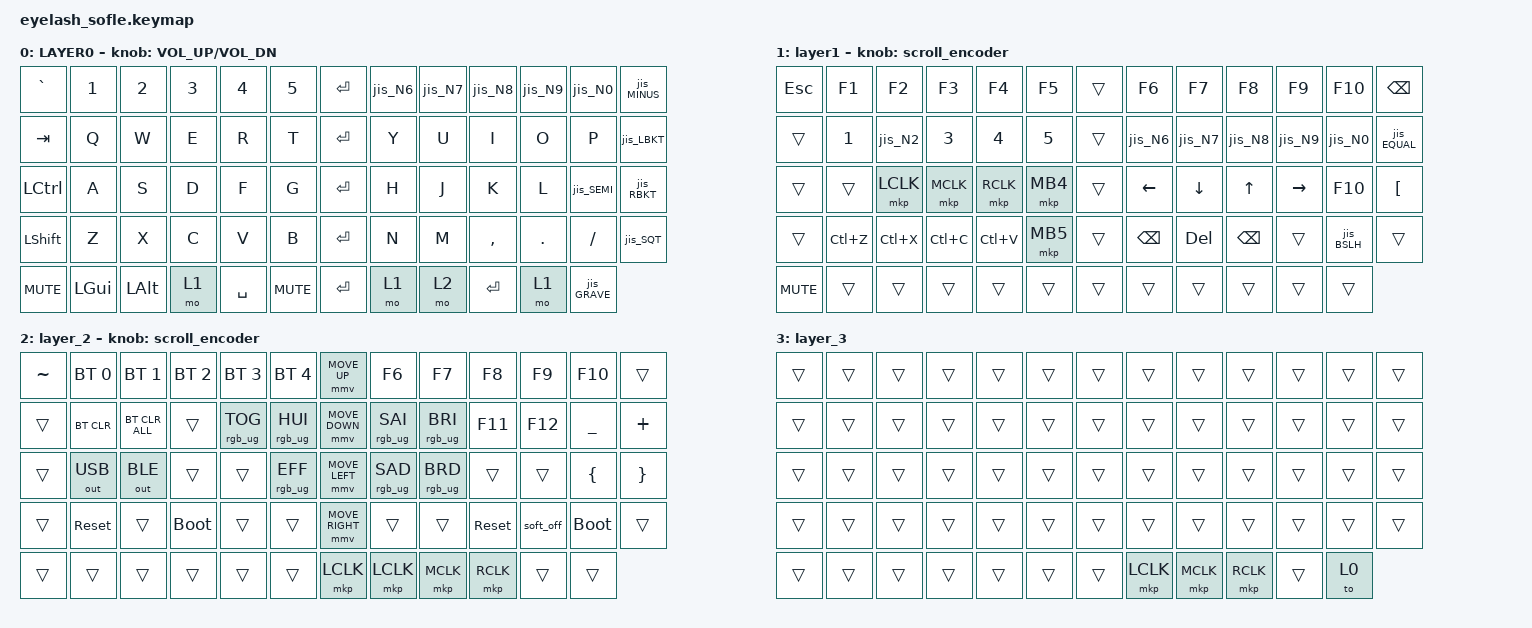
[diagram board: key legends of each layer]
#define ZMK_POINTING_DEFAULT_MOVE_VAL 1200  // 600
#define ZMK_POINTING_DEFAULT_SCRL_VAL 25   // 10

#include <input/processors.dtsi>
#include <zephyr/dt-bindings/input/input-event-codes.h>
#include <behaviors.dtsi>
#include <dt-bindings/zmk/bt.h>
#include <dt-bindings/zmk/ext_power.h>
#include <dt-bindings/zmk/keys.h>
#include <dt-bindings/zmk/pointing.h>
#include <dt-bindings/zmk/rgb.h>
#include <dt-bindings/zmk/outputs.h>

&mmv_input_listener { input-processors = <&zip_xy_scaler 2 1>; };

&msc_input_listener { input-processors = <&zip_scroll_scaler 2 1>; };

&msc {
    acceleration-exponent = <1>;      // 0
    time-to-max-speed-ms = <100>;       // 300
    delay-ms = <0>;                   // 0
};

&mmv {
    time-to-max-speed-ms = <500>;
    acceleration-exponent = <1>;
    trigger-period-ms = <16>;
};


/ {

    scroll_encoder: scroll_encoder {
        compatible = "zmk,behavior-sensor-rotate";
        #sensor-binding-cells = <0>;
        bindings = <&msc SCRL_DOWN>, <&msc SCRL_UP>;
        tap-ms = <100>;
    };
    //--------USキーボードの記号を日本語OSで表示通りに入力するための処理-----------------------------
    //`~マーク
    jis_GRAVE: jis_GRAVE {
        compatible = "zmk,behavior-mod-morph";
        label = "jis_GRAVE";
        #binding-cells = <0>;
        bindings = <&kp LS(LBKT)>, <&kp EQUAL>; //通常時でもレフトシフトするようにしてある。
        mods = <(MOD_LSFT|MOD_RSFT)>;
        keep-mods = <(MOD_LSFT|MOD_RSFT)>;  //shiftを押しっぱなしにするための記述
    };


    //@マーク
    jis_N2: jis_N2 {
        compatible = "zmk,behavior-mod-morph";
        label = "jis_N2";
        #binding-cells = <0>;
        bindings = <&kp N2>, <&kp LBKT>;
        mods = <(MOD_LSFT|MOD_RSFT)>;
        //keep-mods = <(MOD_LSFT|MOD_RSFT)>;
    };
    //^マーク
    jis_N6: jis_N6 {
        compatible = "zmk,behavior-mod-morph";
        label = "jis_N6";
        #binding-cells = <0>;
        bindings = <&kp N6>, <&kp EQUAL>;
        mods = <(MOD_LSFT|MOD_RSFT)>;
        //keep-mods = <(MOD_LSFT|MOD_RSFT)>;
    //&マーク
    };
    jis_N7: jis_N7 {
        compatible = "zmk,behavior-mod-morph";
        label = "jis_N7";
        #binding-cells = <0>;
        bindings = <&kp N7>, <&kp N6>;
        mods = <(MOD_LSFT|MOD_RSFT)>;
        keep-mods = <(MOD_LSFT|MOD_RSFT)>;
    };
    //アスタリスクマーク
    jis_N8: jis_N8 {
        compatible = "zmk,behavior-mod-morph";
        label = "jis_N8";
        #binding-cells = <0>;
        bindings = <&kp N8>, <&kp SQT>;
        mods = <(MOD_LSFT|MOD_RSFT)>;
        keep-mods = <(MOD_LSFT|MOD_RSFT)>;
    };
    // (マーク
    jis_N9: jis_N9 {
        compatible = "zmk,behavior-mod-morph";
        label = "jis_N9";
        #binding-cells = <0>;
        bindings = <&kp N9>, <&kp N8>;
        mods = <(MOD_LSFT|MOD_RSFT)>;
        keep-mods = <(MOD_LSFT|MOD_RSFT)>;
    };
    // )マーク
    jis_N0: jis_N0 {
        compatible = "zmk,behavior-mod-morph";
        label = "jis_N0";
        #binding-cells = <0>;
        bindings = <&kp N0>, <&kp N9>;
        mods = <(MOD_LSFT|MOD_RSFT)>;
        keep-mods = <(MOD_LSFT|MOD_RSFT)>;
    };
    //アンダーバー
    jis_MINUS: jis_MINUS {
        compatible = "zmk,behavior-mod-morph";
        label = "jis_MINUS";
        #binding-cells = <0>;
        bindings = <&kp MINUS>, <&kp INT1>;
        mods = <(MOD_LSFT|MOD_RSFT)>;
        keep-mods = <(MOD_LSFT|MOD_RSFT)>;
    };
    //イコールとプラス
    jis_EQUAL: jis_EQUAL {
        compatible = "zmk,behavior-mod-morph";
        label = "jis_EQUAL";
        #binding-cells = <0>;
        bindings = <&kp LS(MINUS)>, <&kp SEMI>;
        mods = <(MOD_LSFT|MOD_RSFT)>;
        keep-mods = <(MOD_LSFT|MOD_RSFT)>;
    };
    // [マーク
    jis_LBKT: jis_LBKT {
        compatible = "zmk,behavior-mod-morph";
        label = "jis_LBKT";
        #binding-cells = <0>;
        bindings = <&kp RBKT>, <&kp RBKT>;
        mods = <(MOD_LSFT|MOD_RSFT)>;
        keep-mods = <(MOD_LSFT|MOD_RSFT)>;
    };
    // ]マーク
    jis_RBKT: jis_RBKT {
        compatible = "zmk,behavior-mod-morph";
        label = "jis_RBKT";
        #binding-cells = <0>;
        bindings = <&kp BSLH>, <&kp BSLH>;
        mods = <(MOD_LSFT|MOD_RSFT)>;
        keep-mods = <(MOD_LSFT|MOD_RSFT)>;
    };
    // yenマーク
    jis_BSLH: jis_BSLH {
        compatible = "zmk,behavior-mod-morph";
        label = "jis_BSLH";
        #binding-cells = <0>;
        bindings = <&kp INT3>, <&kp INT3>; //INT3ではないかも
        mods = <(MOD_LSFT|MOD_RSFT)>;
        keep-mods = <(MOD_LSFT|MOD_RSFT)>;
    };
    //コロンセミコロン
    jis_SEMI: jis_SEMI {
        compatible = "zmk,behavior-mod-morph";
        label = "jis_SEMI";
        #binding-cells = <0>;
        bindings = <&kp SQT>, <&kp SEMI>;
        mods = <(MOD_LSFT|MOD_RSFT)>;
        //keep-mods = <(MOD_LSFT|MOD_RSFT)>;
    };
    //クオーテーション
    jis_SQT: jis_SQT {
        compatible = "zmk,behavior-mod-morph";
        label = "jis_SQT";
        #binding-cells = <0>;
        // bindings = <&kp LS(N7)>, <&kp N2>;
        bindings = <&kp LS(N7)>, <&kp INT1>;
        mods = <(MOD_LSFT|MOD_RSFT)>;
        keep-mods = <(MOD_LSFT|MOD_RSFT)>;
    };
    
    keymap {
        compatible = "zmk,keymap";

        layer0 {
            bindings = <
&kp GRAVE   &kp N1        &kp N2        &kp N3        &kp N4      &kp N5            &kp ENTER   &jis_N6        &jis_N7    &jis_N8    &jis_N9          &jis_N0     &jis_MINUS
&kp TAB     &kp Q         &kp W         &kp E         &kp R       &kp T             &kp ENTER   &kp Y          &kp U      &kp I      &kp O            &kp P       &jis_LBKT
&kp LCTRL   &kp A         &kp S         &kp D         &kp F       &kp G             &kp ENTER   &kp H          &kp J      &kp K      &kp L            &jis_SEMI   &jis_RBKT
&kp LSHFT   &kp Z         &kp X         &kp C         &kp V       &kp B             &kp ENTER   &kp N          &kp M      &kp COMMA  &kp DOT          &kp FSLH    &jis_SQT
&kp C_MUTE  &kp LEFT_GUI  &kp LEFT_ALT  &mo 1         &kp SPACE   &kp C_MUTE        &kp ENTER   &mo 1          &mo 2      &kp ENTER  &mo 1            &jis_GRAVE       
            >;

            sensor-bindings = <&inc_dec_kp C_VOLUME_UP C_VOL_DN>;
            display-name = "LAYER0";
        };

        layer_1 {
            bindings = <
&kp ESC     &kp F1        &kp F2        &kp F3        &kp F4       &kp F5           &trans      &kp F6        &kp F7        &kp F8      &kp F9     &kp F10    &kp BACKSPACE
&trans      &kp N1        &jis_N2       &kp N3        &kp N4       &kp N5           &trans      &jis_N6       &jis_N7       &jis_N8     &jis_N9    &jis_N0    &jis_EQUAL
&trans      &trans        &mkp LCLK     &mkp MCLK     &mkp RCLK    &mkp MB4         &trans      &kp LEFT      &kp DOWN      &kp UP      &kp RIGHT  &kp F10    &kp LBKT
&trans      &kp LC(Z)     &kp LC(X)     &kp LC(C)     &kp LC(V)    &mkp MB5         &trans      &kp BACKSPACE &kp DELETE    &kp BACKSPACE &trans     &jis_BSLH  &trans
&kp C_MUTE  &trans        &trans        &trans        &trans       &trans           &trans      &trans        &trans        &trans      &trans     &trans
            >;

            display-name = "layer1";
            sensor-bindings = <&scroll_encoder>;
        };

        layer_2 {
            bindings = <
&kp TILDE  &bt BT_SEL 0  &bt BT_SEL 1    &bt BT_SEL 2  &bt BT_SEL 3    &bt BT_SEL 4    &mmv MOVE_UP     &kp F6           &kp F7           &kp F8      &kp F9     &kp F10      &trans
&trans     &bt BT_CLR    &bt BT_CLR_ALL  &trans        &rgb_ug RGB_TOG &rgb_ug RGB_HUI &mmv MOVE_DOWN   &rgb_ug RGB_SAI  &rgb_ug RGB_BRI  &kp F11     &kp F12    &kp UNDER    &kp PLUS
&trans     &out OUT_USB  &out OUT_BLE    &trans        &trans          &rgb_ug RGB_EFF &mmv MOVE_LEFT   &rgb_ug RGB_SAD  &rgb_ug RGB_BRD  &trans      &trans     &kp LBRC     &kp RBRC
&trans     &sys_reset    &trans          &bootloader   &trans          &trans          &mmv MOVE_RIGHT  &trans           &trans           &sys_reset  &soft_off  &bootloader  &trans
&trans     &trans        &trans          &trans        &trans          &trans          &mkp LCLK        &mkp LCLK        &mkp MCLK        &mkp RCLK   &trans     &trans
            >;

            sensor-bindings = <&scroll_encoder>;
        };

        layer_3 {
            bindings = <
&trans  &trans  &trans  &trans  &trans  &trans    &trans  &trans     &trans     &trans     &trans  &trans  &trans
&trans  &trans  &trans  &trans  &trans  &trans    &trans  &trans     &trans     &trans     &trans  &trans  &trans
&trans  &trans  &trans  &trans  &trans  &trans    &trans  &trans     &trans     &trans     &trans  &trans  &trans
&trans  &trans  &trans  &trans  &trans  &trans    &trans  &trans     &trans     &trans     &trans  &trans  &trans
&trans  &trans  &trans  &trans  &trans  &trans    &trans  &mkp LCLK  &mkp MCLK  &mkp RCLK  &trans  &to 0
            >;
        };
    };
};
